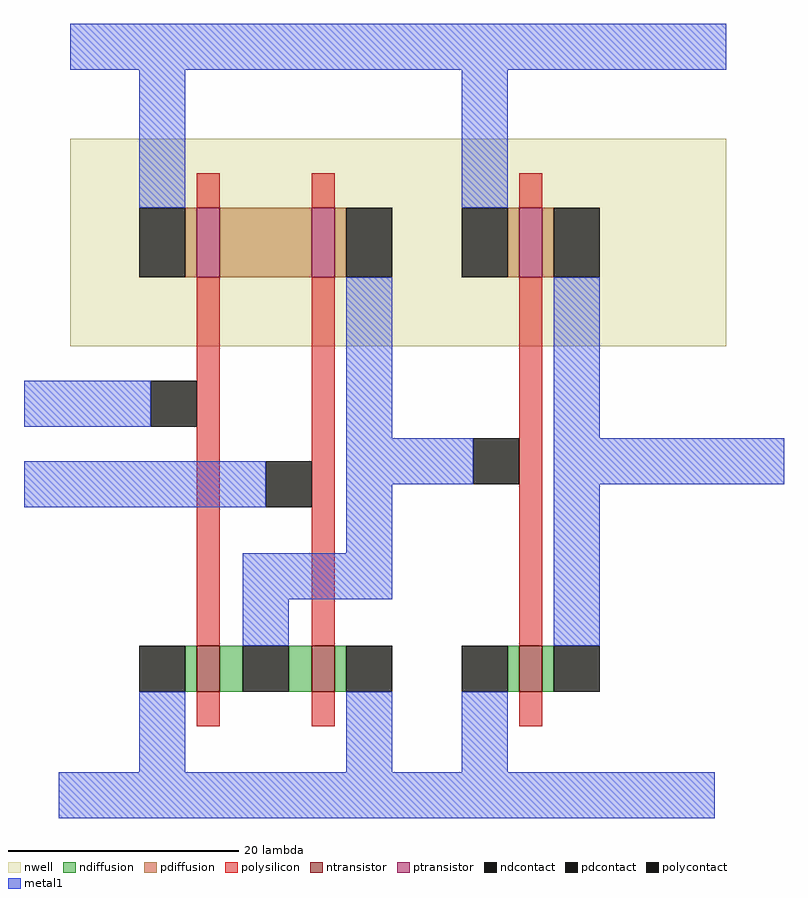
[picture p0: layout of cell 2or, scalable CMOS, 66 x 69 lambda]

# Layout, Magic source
magic
tech scmos
<< nwell >>
rect -13 0 44 18
<< ntransistor >>
rect -2 -30 0 -26
rect 8 -30 10 -26
rect 26 -30 28 -26
<< ptransistor >>
rect -2 6 0 12
rect 8 6 10 12
rect 26 6 28 12
<< ndiffusion >>
rect -3 -30 -2 -26
rect 0 -30 2 -26
rect 6 -30 8 -26
rect 10 -30 11 -26
rect 25 -30 26 -26
rect 28 -30 29 -26
<< pdiffusion >>
rect -3 6 -2 12
rect 0 6 8 12
rect 10 6 11 12
rect 25 6 26 12
rect 28 6 29 12
<< ndcontact >>
rect -7 -30 -3 -26
rect 2 -30 6 -26
rect 11 -30 15 -26
rect 21 -30 25 -26
rect 29 -30 33 -26
<< pdcontact >>
rect -7 6 -3 12
rect 11 6 15 12
rect 21 6 25 12
rect 29 6 33 12
<< polysilicon >>
rect -2 12 0 15
rect 8 12 10 15
rect 26 12 28 15
rect -2 -26 0 6
rect 8 -26 10 6
rect 26 -26 28 6
rect -2 -33 0 -30
rect 8 -33 10 -30
rect 26 -33 28 -30
<< polycontact >>
rect -6 -7 -2 -3
rect 4 -14 8 -10
rect 22 -12 26 -8
<< metal1 >>
rect -13 24 44 28
rect -7 12 -3 24
rect 21 12 25 24
rect -17 -7 -6 -3
rect 11 -8 15 6
rect 29 -8 33 6
rect -17 -14 4 -10
rect 11 -12 22 -8
rect 29 -12 49 -8
rect 11 -18 15 -12
rect 2 -22 15 -18
rect 2 -26 6 -22
rect 29 -26 33 -12
rect -7 -37 -3 -30
rect 11 -37 15 -30
rect 21 -37 25 -30
rect -14 -41 43 -37
<< end >>
